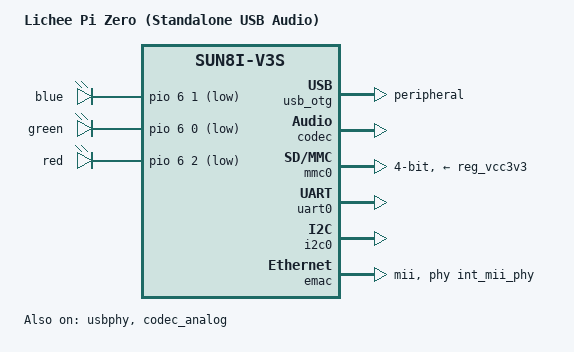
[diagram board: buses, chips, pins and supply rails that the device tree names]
/dts-v1/;
#include "sun8i-v3s.dtsi"
#include "sunxi-common-regulators.dtsi"
#include <dt-bindings/input/input.h>

/ {
	model = "Lichee Pi Zero (Standalone USB Audio)";
	compatible = "licheepi,licheepi-zero", "allwinner,sun8i-v3s";

	aliases {
		serial0 = &uart0;
		ethernet0 = &emac;
	};

	chosen {
		stdout-path = "serial0:115200n8";
	};

	leds {
		compatible = "gpio-leds";

		blue_led {
			label = "blue";
			gpios = <&pio 6 1 GPIO_ACTIVE_LOW>; /* PG1 */
		};

		green_led {
			label = "green";
			gpios = <&pio 6 0 GPIO_ACTIVE_LOW>; /* PG0 */
			//default-state = "on";
		};

		red_led {
			label = "red";
			gpios = <&pio 6 2 GPIO_ACTIVE_LOW>; /* PG2 */
			linux,default-trigger = "activity";
		};
	};
};

/* =================================================================
 * USB 配置区域
 * ================================================================= */

/* //host:
&usb_otg {
	dr_mode = "host";
	status = "okay";
};
&usbphy {
	usb0_id_det = <&pio 5 6 GPIO_ACTIVE_HIGH>;
	status = "okay";
};
&ehci0 {
	status = "okay";
};
//&ohci0 {
//	status = "okay";
//};*/

//otg peripheral:
&usb_otg {
	dr_mode = "peripheral";
	status = "okay";
};
&usbphy {
	//usb0_id_det = <&pio 5 6 GPIO_ACTIVE_HIGH>;
	/delete-property/ usb0_id_det;
    /delete-property/ usb0_vbus_det;
    /delete-property/ usb0_vbus-supply;

	status = "okay";
};
&ehci0 {
	status = "disabled";
};
&ohci0 {
	status = "disabled";
};



/* =================================================================
 * 音频配置区域 (已启用)
 * ================================================================= */

&codec {
	allwinner,audio-routing =
		"Headphone", "HP",
		"Headphone", "HPCOM",
		"MIC1", "Mic",
		"Mic",  "HBIAS";
	status = "okay";
};

/* 模拟通路也需要开启 */
&codec_analog {
	status = "okay";
};

/* =================================================================
 * 其他外设配置
 * ================================================================= */

&mmc0 {
	broken-cd;
	bus-width = <4>;
	vmmc-supply = <&reg_vcc3v3>;
	status = "okay";
};

/* MMC1 与 LED 冲突，且 Dock 通常不用，保持禁用 */
&mmc1 {
	status = "disabled";
};

&uart0 {
	pinctrl-0 = <&uart0_pb_pins>;
	pinctrl-names = "default";
	status = "okay";
};

&i2c0 {
	pinctrl-0 = <&i2c0_pins>;
	pinctrl-names = "default";
	status = "okay";
};

&emac {
	phy-handle = <&int_mii_phy>;
	phy-mode = "mii";
	allwinner,leds-active-low;
	status = "okay";
};

/* =================================================================
 * 摄像头配置 (保留自 zero.dts)
 * ================================================================= */
/*
&csi1 {
	pinctrl-names = "default";
	pinctrl-0 = <&csi1_8bit_pins>;
	status = "disabled";

	port {
		#address-cells = <1>;
		#size-cells = <0>;

		csi1_ep: endpoint {
			remote-endpoint = <&ov5640_ep>;
			bus-width = <8>;
			hsync-active = <1>;
			vsync-active = <0>;
			data-active = <1>;
			pclk-sample = <1>;
		};
	};
};

&i2c1 {
	pinctrl-names = "default";
	pinctrl-0 = <&i2c1_pe_pins>;
	status = "disabled";

	ov5640: camera@3c {
		compatible = "ovti,ov5640";
		reg = <0x3c>;
		pinctrl-names = "default";
		pinctrl-0 = <&csi1_mclk_pin>;
		clocks = <&ccu CLK_CSI1_MCLK>;
		clock-names = "xclk";

		AVDD-supply = <&reg_vcc2v8>;
		DOVDD-supply = <&reg_vcc2v8>;
		DVDD-supply = <&reg_vcc1v8>;

		port {
			ov5640_ep: endpoint {
				remote-endpoint = <&csi1_ep>;
				bus-width = <8>;
				hsync-active = <1>;
				vsync-active = <0>;
				data-active = <1>;
				pclk-sample = <1>;
			};
		};
	};
};
*/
